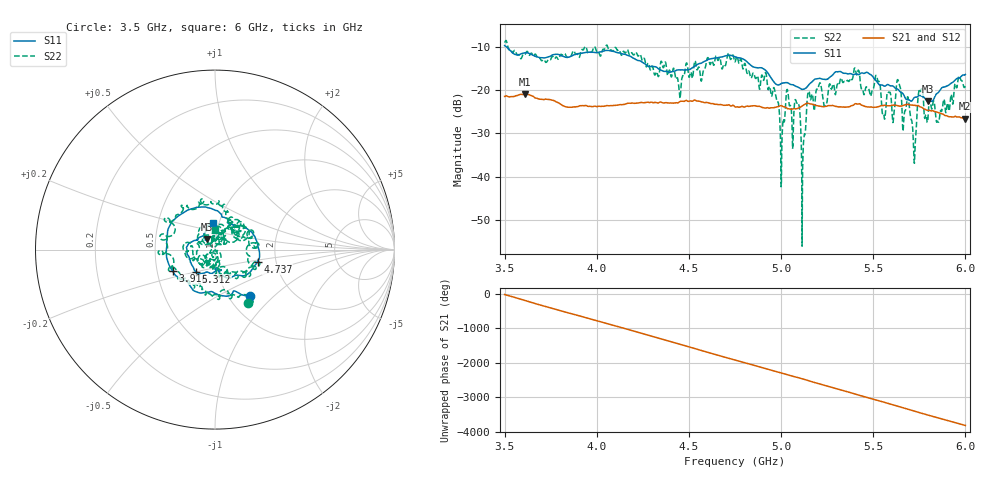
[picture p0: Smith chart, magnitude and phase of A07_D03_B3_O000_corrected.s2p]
! Created with skrf 1.9.0 (http://scikit-rf.org).
# Hz S RI R 50.0
!freq ReS11 ImS11 ReS21 ImS21 ReS12 ImS12 ReS22 ImS22
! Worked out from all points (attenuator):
!   1601 points, 3.5 GHz to 6 GHz, reference 50 ohm
!   highest |S21| = -20.98 dB at 3.611 GHz (marker M1); lowest = -26.6 dB at 5.998 GHz (marker M2)
!   lowest |S11| = -22.6 dB at 5.797 GHz (marker M3), VSWR 1.16, Z = 45.5 + j5.46 ohm
!   |S11| at or under -10 dB: 3.508 GHz to end of sweep
!   |S22| runs from -56.1 to -8.6 dB; largest |S21 - S12| = 0.001
!   S11 on the Smith chart (normalised r, x): 3.5 GHz: 1.25, -0.73; 3.916 GHz: 0.60, -0.16; 4.737 GHz: 1.60, -0.23; 5.312 GHz: 0.79, -0.20; 6 GHz: 0.94, +0.29
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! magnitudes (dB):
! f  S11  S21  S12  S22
! 3.5 GHz  -9.8  -21.5  -21.5  -9.1
! 3.611 GHz  -11.4  -21.0  -21.0  -11.8
! 3.916 GHz  -11.5  -23.6  -23.6  -11.0
! 3.917 GHz  -11.5  -23.6  -23.6  -10.8
! 4.334 GHz  -15.1  -23.0  -22.9  -16.9
! 4.737 GHz  -12.2  -23.5  -23.6  -12.0
! 4.75 GHz  -12.3  -23.9  -23.9  -13.5
! 4.966 GHz  -18.4  -24.0  -24.0  -20.1
! 5.006 GHz  -18.5  -23.7  -23.7  -29.9
! 5.034 GHz  -18.3  -24.3  -24.2  -20.0
! 5.088 GHz  -19.3  -24.3  -24.3  -23.0
! 5.12 GHz  -19.8  -23.5  -23.4  -33.1
! 5.145 GHz  -19.1  -23.1  -23.0  -20.8
! 5.167 GHz  -18.2  -23.3  -23.3  -21.0
! 5.312 GHz  -15.8  -23.9  -23.9  -18.9
! 5.584 GHz  -18.9  -23.6  -23.6  -20.5
! 5.639 GHz  -20.1  -23.7  -23.7  -18.4
! 5.722 GHz  -21.8  -23.5  -23.5  -36.6
! 5.755 GHz  -21.3  -23.9  -23.8  -20.6
! 5.797 GHz  -22.6  -24.7  -24.7  -26.6
! 5.998 GHz  -16.5  -26.6  -26.6  -19.3
! 6 GHz  -16.4  -26.6  -26.6  -19.2
